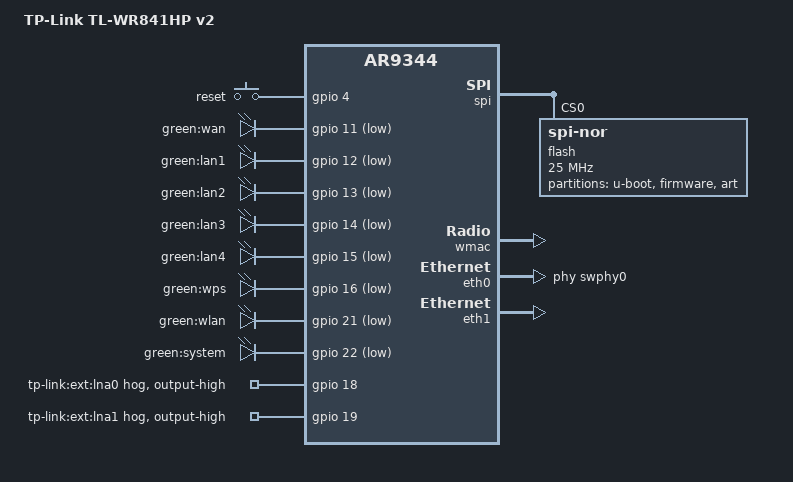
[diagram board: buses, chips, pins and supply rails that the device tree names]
// SPDX-License-Identifier: GPL-2.0-or-later OR MIT

#include "ar9344.dtsi"

#include <dt-bindings/gpio/gpio.h>
#include <dt-bindings/input/input.h>

/ {
	model = "TP-Link TL-WR841HP v2";
	compatible = "tplink,tl-wr841hp-v2", "qca,ar9344";

	aliases {
		led-boot = &led_system;
		led-failsafe = &led_system;
		led-running = &led_system;
		led-upgrade = &led_system;
		label-mac-device = &wmac;
	};
	
	keys {
		compatible = "gpio-keys";

		reset {
			linux,code = <KEY_RESTART>;
			gpios = <&gpio 4 GPIO_ACTIVE_HIGH>;
			debounce-interval = <60>;
		};
	};
	
	leds {
		compatible = "gpio-leds";

		wan {
			label = "green:wan";
			gpios = <&gpio 11 GPIO_ACTIVE_LOW>;
		};

		lan1 {
			label = "green:lan1";
			gpios = <&gpio 12 GPIO_ACTIVE_LOW>;
		};

		lan2 {
			label = "green:lan2";
			gpios = <&gpio 13 GPIO_ACTIVE_LOW>;
		};

		lan3 {
			label = "green:lan3";
			gpios = <&gpio 14 GPIO_ACTIVE_LOW>;
		};

		lan4 {
			label = "green:lan4";
			gpios = <&gpio 15 GPIO_ACTIVE_LOW>;
		};
		
		wps {
			label = "green:wps";
			gpios = <&gpio 16 GPIO_ACTIVE_LOW>;
		};
		
		wlan {
			label = "green:wlan";
			gpios = <&gpio 21 GPIO_ACTIVE_LOW>;
			linux,default-trigger = "phy0tpt";
		};

		led_system: system {
			label = "green:system";
			gpios = <&gpio 22 GPIO_ACTIVE_LOW>;
			default-state = "on";
		};
	};
};

&ref {
	clock-frequency = <40000000>;
};

&spi {
	status = "okay";

	flash@0 {
		compatible = "jedec,spi-nor";
		reg = <0>;
		spi-max-frequency = <25000000>;

		partitions {
			compatible = "fixed-partitions";
			#address-cells = <1>;
			#size-cells = <1>;

			uboot: partition@0 {
				label = "u-boot";
				reg = <0x000000 0x020000>;
				read-only;
			};

			partition@20000 {
				compatible = "tplink,firmware";
				label = "firmware";
				reg = <0x020000 0x7d0000>;
			};

			art: partition@7f0000 {
				label = "art";
				reg = <0x7f0000 0x010000>;
				read-only;
			};
		};
	};
};

&gpio {
	gpio_ext_lna0 {
		gpio-hog;
		gpios = <18 GPIO_ACTIVE_HIGH>;
		output-high;
		line-name = "tp-link:ext:lna0";
	};

	gpio_ext_lna1 {
		gpio-hog;
		gpios = <19 GPIO_ACTIVE_HIGH>;
		output-high;
		line-name = "tp-link:ext:lna1";
	};
};

&wmac {
	status = "okay";
	
	mtd-cal-data = <&art 0x1000>;
	
	nvmem-cells = <&macaddr_uboot_1fc00>;
	nvmem-cell-names = "mac-address";
};

&eth0 {
	status = "okay";
	
	phy-handle = <&swphy0>;

	nvmem-cells = <&macaddr_uboot_1fc00>;
	nvmem-cell-names = "mac-address";
	mac-address-increment = <1>;
};

&eth1 {
	status = "okay";

	nvmem-cells = <&macaddr_uboot_1fc00>;
	nvmem-cell-names = "mac-address";
	
	gmac-config {
		device = <&gmac>;
		switch-phy-swap = <1>;
	};
};

&uboot {
	compatible = "nvmem-cells";
	#address-cells = <1>;
	#size-cells = <1>;

	macaddr_uboot_1fc00: macaddr@1fc00 {
		reg = <0x1fc00 0x6>;
	};
};
